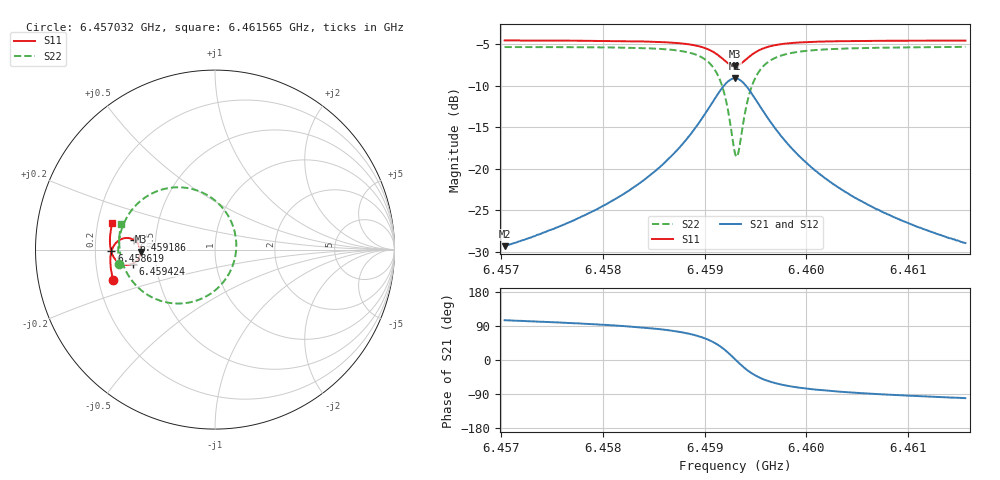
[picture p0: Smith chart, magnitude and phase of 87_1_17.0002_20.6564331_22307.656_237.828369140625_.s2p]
#  HZ  S  RI  R  50.00
! Rohde & Schwarz Vector Network Analyzer
! Rohde-Schwarz,ZNB20-2Port,1311601062101988,3.16
! Created: UTC 3/20/2024, 10:55:58 PM
! freq[Hz]  re:S11  im:S11  re:S21  im:S21  re:S12  im:S12  re:S22  im:S22
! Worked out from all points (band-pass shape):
!   401 points, 6.457032 GHz to 6.461565 GHz, reference 50 ohm
!   highest |S21| = -9.12 dB at 6.459299 GHz (marker M1); lowest = -29.3 dB at 6.457032 GHz (marker M2)
!   |S21| within 3 dB of the highest: 6.459072 GHz to 6.459525 GHz (453.3 kHz wide, 0.00702 % of centre)
!   lowest |S11| = -7.6 dB at 6.459299 GHz (marker M3), VSWR 2.42, Z = 20.7 - j0.53 ohm
!   |S11| at or under -10 dB: nowhere
!   |S22| runs from -18.6 to -5.3 dB; largest |S21 - S12| = 0.014
!   S11 on the Smith chart (normalised r, x): 6.457032 GHz: 0.26, -0.14; 6.458619 GHz: 0.27, -0.01; 6.459186 GHz: 0.38, +0.05; 6.459424 GHz: 0.37, -0.07; 6.461565 GHz: 0.26, +0.12
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6.4570325e9  -0.5673 -0.1693  -0.00881 0.033  -0.00709 0.0329  -0.5343 -0.0792
6.4577917e9  -0.5808 -0.1027  -0.00533 0.0511  -0.00285 0.0505  -0.5388 0.0107
6.458211e9  -0.5835 -0.0602  0.000774 0.071  0.00393 0.0694  -0.53 0.078
6.458551e9  -0.5794 -0.0193  0.015 0.1  0.0188 0.0972  -0.5035 0.1558
6.458619e9  -0.5771 -0.00969  0.0203 0.1085  0.0245 0.1052  -0.4933 0.1757
6.4588117e9  -0.5643 0.0207  0.0473 0.1399  0.0515 0.1348  -0.4424 0.2452
6.458959e9  -0.5411 0.0471  0.0933 0.1705  0.0966 0.1637  -0.3577 0.3095
6.459095e9  -0.4967 0.0646  0.1819 0.1868  0.1827 0.1795  -0.1962 0.3472
6.4591856e9  -0.4513 0.0539  0.2729 0.1546  0.273 0.1489  -0.0282 0.2946
6.4592536e9  -0.4219 0.021  0.3338 0.0815  0.336 0.0762  0.0874 0.1626
6.4592989e9  -0.415 -0.0106  0.3499 0.0127  0.3538 0.00561  0.1188 0.0336
6.4593103e9  -0.4155 -0.0188  0.3496 -0.00527  0.3536 -0.013  0.118 -0.000238
6.4593329e9  -0.4191 -0.0346  0.3438 -0.0404  0.3477 -0.0496  0.106 -0.0668
6.4593783e9  -0.4349 -0.0611  0.3145 -0.1009  0.3168 -0.113  0.0469 -0.1804
6.4594236e9  -0.4573 -0.0778  0.2717 -0.1421  0.2709 -0.1555  -0.0397 -0.2553
6.4595143e9  -0.5012 -0.0848  0.1858 -0.1732  0.1796 -0.1848  -0.2107 -0.3005
6.4596616e9  -0.5457 -0.0643  0.097 -0.159  0.0884 -0.165  -0.3793 -0.2496
6.4598202e9  -0.5677 -0.0366  0.0517 -0.1304  0.044 -0.1332  -0.4601 -0.1765
6.4600582e9  -0.5807 -0.0012  0.0224 -0.0985  0.0165 -0.099  -0.5079 -0.0936
6.4603868e9  -0.5854 0.0384  0.00661 -0.0719  0.00244 -0.0715  -0.5289 -0.0163
6.4608175e9  -0.5838 0.082  -0.00146 -0.0526  -0.00434 -0.0517  -0.5334 0.054
6.4615654e9  -0.572 0.1486  -0.00659 -0.035  -0.00831 -0.034  -0.5222 0.1431
